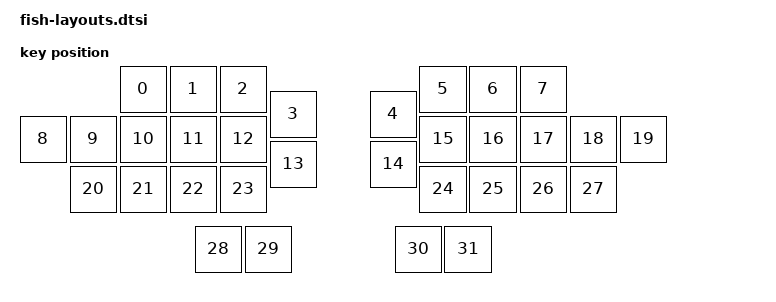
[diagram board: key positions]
#include <physical_layouts.dtsi>
// https://zmk-physical-layout-converter.streamlit.app/?layout=H4sIAAAAAAACA43QsQrCMBDG8b1PcWQuIXdpaOrsW4hDB50KDrZgCX13o4QaJe3n1OZ-RyD_UBGpoZ9v03hXBwrxGAfHy7WfhnEdrDtxckoTokDqEQeiTU1qjn9GG1rqX7fAG-Auc1fwFrgH93fA2YCFj3P5AuAC3AJvgLvM9wMyCMggIKOAGwuoEMvfiQUkFpBYQOKye-Ad8CyRoERbL3DJrZbiC_a9Be6_PfH5_X2dlmp5AlHtPlNMBAAA

/ {
    physical_layout0: physical_layout_0 {
        compatible = "zmk,physical-layout";
        display-name = "Default Layout";

        keys  //                     w   h    x    y     rot    rx    ry
            = <&key_physical_attrs 100 100  200    0       0     0     0>
            , <&key_physical_attrs 100 100  300    0       0     0     0>
            , <&key_physical_attrs 100 100  400    0       0     0     0>
            , <&key_physical_attrs 100 100  500   50       0     0     0>
            , <&key_physical_attrs 100 100  700   50       0     0     0>
            , <&key_physical_attrs 100 100  800    0       0     0     0>
            , <&key_physical_attrs 100 100  900    0       0     0     0>
            , <&key_physical_attrs 100 100 1000    0       0     0     0>
            , <&key_physical_attrs 100 100    0  100       0     0     0>
            , <&key_physical_attrs 100 100  100  100       0     0     0>
            , <&key_physical_attrs 100 100  200  100       0     0     0>
            , <&key_physical_attrs 100 100  300  100       0     0     0>
            , <&key_physical_attrs 100 100  400  100       0     0     0>
            , <&key_physical_attrs 100 100  500  150       0     0     0>
            , <&key_physical_attrs 100 100  700  150       0     0     0>
            , <&key_physical_attrs 100 100  800  100       0     0     0>
            , <&key_physical_attrs 100 100  900  100       0     0     0>
            , <&key_physical_attrs 100 100 1000  100       0     0     0>
            , <&key_physical_attrs 100 100 1100  100       0     0     0>
            , <&key_physical_attrs 100 100 1200  100       0     0     0>
            , <&key_physical_attrs 100 100  100  200       0     0     0>
            , <&key_physical_attrs 100 100  200  200       0     0     0>
            , <&key_physical_attrs 100 100  300  200       0     0     0>
            , <&key_physical_attrs 100 100  400  200       0     0     0>
            , <&key_physical_attrs 100 100  800  200       0     0     0>
            , <&key_physical_attrs 100 100  900  200       0     0     0>
            , <&key_physical_attrs 100 100 1000  200       0     0     0>
            , <&key_physical_attrs 100 100 1100  200       0     0     0>
            , <&key_physical_attrs 100 100  350  320       0     0     0>
            , <&key_physical_attrs 100 100  450  320       0     0     0>
            , <&key_physical_attrs 100 100  750  320       0     0     0>
            , <&key_physical_attrs 100 100  850  320       0     0     0>
            ;
    };
};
